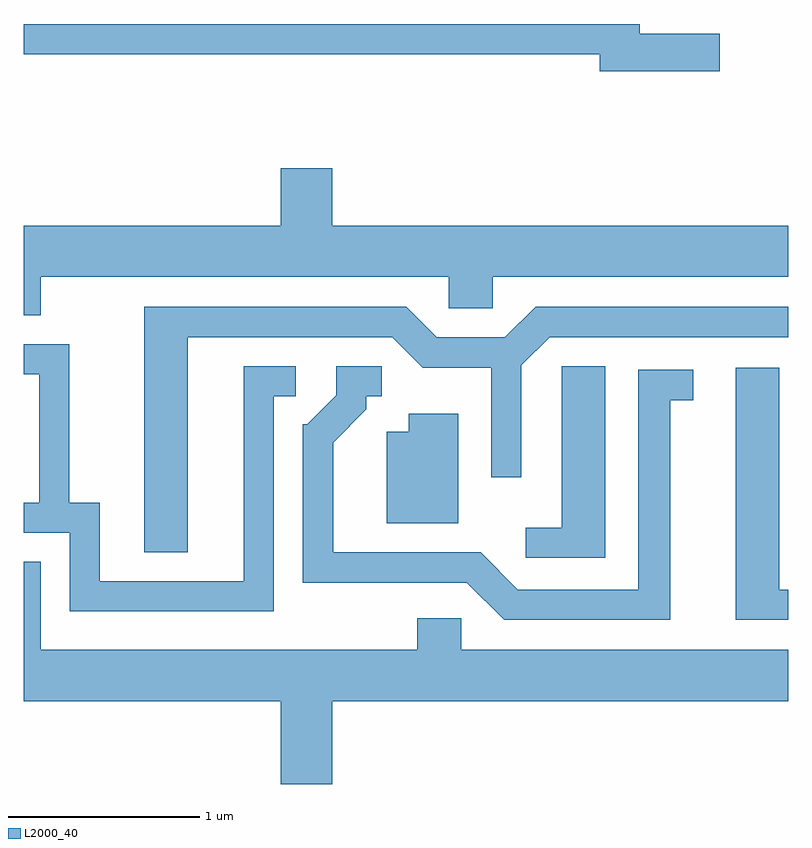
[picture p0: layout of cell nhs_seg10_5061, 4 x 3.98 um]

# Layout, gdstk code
import gdstk
lib = gdstk.Library(unit=1e-6, precision=1e-09)
def P(c, l, *ps):  # polygons
    for p in ps: c.add(gdstk.Polygon(p, *l))
L2000_40 = (2000, 40)

nhs_seg10_5061 = lib.new_cell('nhs_seg10_5061')
P(nhs_seg10_5061, L2000_40, [(337.254,2188.449),(336.834,2188.449),(336.834,2188.499),(333.611,2188.499),(333.611,2188.341),(336.626,2188.341),(336.626,2188.251),(337.254,2188.251)],
  [(333.699,2187.176),(335.836,2187.176),(335.836,2187.011),(336.064,2187.011),(336.064,2187.176),(337.611,2187.176),(337.611,2187.444),(335.224,2187.444),(335.224,2187.744),(334.956,2187.744),(334.956,2187.444),(333.611,2187.444),(333.611,2186.976),(333.699,2186.976)],
  [(334.469,2186.861),(335.539,2186.861),(335.699,2186.701),(336.056,2186.701),(336.056,2186.128),(336.214,2186.128),(336.214,2186.714),(336.362,2186.861),(337.611,2186.861),(337.611,2187.019),(336.289,2187.019),(336.129,2186.859),(335.772,2186.859),(335.612,2187.019),(334.241,2187.019),(334.241,2185.736),(334.469,2185.736)],
  [(334.919,2186.551),(335.033,2186.551),(335.033,2186.709),(334.761,2186.709),(334.761,2185.584),(334.009,2185.584),(334.009,2185.994),(333.849,2185.994),(333.849,2186.824),(333.611,2186.824),(333.611,2186.666),(333.691,2186.666),(333.691,2185.994),(333.611,2185.994),(333.611,2185.836),(333.851,2185.836),(333.851,2185.426),(334.919,2185.426)],
  [(336.654,2186.709),(336.426,2186.709),(336.426,2185.864),(336.238,2185.864),(336.238,2185.706),(336.654,2185.706)],
  [(336.994,2186.531),(337.113,2186.531),(337.113,2186.689),(336.826,2186.689),(336.826,2185.539),(336.197,2185.539),(336.002,2185.734),(335.229,2185.734),(335.229,2186.309),(335.404,2186.484),(335.404,2186.551),(335.483,2186.551),(335.483,2186.709),(335.246,2186.709),(335.246,2186.557),(335.094,2186.404),(335.071,2186.404),(335.071,2185.576),(335.929,2185.576),(336.124,2185.381),(336.994,2185.381)],
  [(337.611,2185.539),(337.564,2185.539),(337.564,2186.699),(337.336,2186.699),(337.336,2185.381),(337.611,2185.381)],
  [(335.884,2186.459),(335.626,2186.459),(335.626,2186.364),(335.511,2186.364),(335.511,2185.886),(335.884,2185.886)],
  [(335.224,2184.956),(337.611,2184.956),(337.611,2185.224),(335.899,2185.224),(335.899,2185.389),(335.671,2185.389),(335.671,2185.224),(333.699,2185.224),(333.699,2185.684),(333.611,2185.684),(333.611,2184.956),(334.956,2184.956),(334.956,2184.522),(335.224,2184.522)])

lib.write_gds('nhs_seg10_5061.gds')
